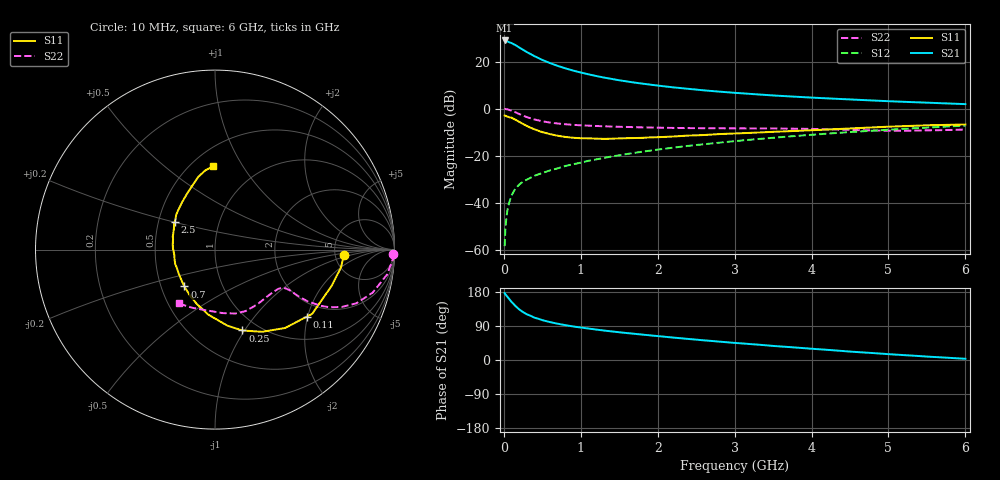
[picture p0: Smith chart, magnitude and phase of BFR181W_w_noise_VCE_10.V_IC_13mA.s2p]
! Infineon Technologies  Discrete & RF Semiconductors
! BFR181W
! VCE =  10. V,  IC =  13 mA
! Common Emitter S-Parameters:  Jan 2017
# GHz  S  MA  R  50
!  f  S11  S21  S12  S22
! GHz  MAG  ANG  MAG  ANG  MAG  ANG  MAG  ANG
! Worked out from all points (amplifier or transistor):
!   77 points, 10 MHz to 6 GHz, reference 50 ohm
!   highest |S21| = 29.0 dB at 10 MHz (marker M1)
!   |S21| within 3 dB of that: start of sweep to 201.3 MHz
!   unconditionally stable (mu >= 1): 947 MHz to 2.897 GHz
!   at 130 MHz: K = 0.32, MSG = 31.2 dB, |S12| = -35.0 dB
!   at 2.2 GHz: K = 1.05, MAG = 11.5 dB, |S12| = -16.5 dB
!   at 6 GHz: K = 0.85, MSG = 4.6 dB, |S12| = -7.2 dB
!   lowest NFmin = 1.39 dB at 450 MHz
!   S11 on the Smith chart (normalised r, x): 10 MHz: 6.04, -0.69; 110 MHz: 1.58, -1.97; 250 MHz: 0.84, -0.98; 700 MHz: 0.66, -0.29; 2.5 GHz: 0.61, +0.20; 6 GHz: 0.63, +0.75
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0.01  0.7192 -2.2  28.31 176.5  0.0012 89.0  0.9895 -1.5
0.02  0.709 -8.1  27.93 173.3  0.0027 94.3  0.9925 -3.1
0.05  0.6809 -17.2  26.91 165.9  0.0075 79.8  0.9695 -8.2
0.1  0.6489 -33.5  24.95 153.2  0.0142 73.7  0.9103 -15.3
0.11  0.6331 -36.2  24.41 151.3  0.0154 72.5  0.8961 -16.3
0.15  0.5858 -48.2  22.57 142.6  0.0201 69.2  0.8424 -20.8
0.2  0.5278 -60.2  20.1 133.5  0.0245 67.4  0.7742 -24.4
0.25  0.4757 -71.3  17.95 126.3  0.0283 64.7  0.7149 -26.7
0.3  0.4296 -80.7  15.99 120.5  0.0312 63.3  0.6636 -28.1
0.4  0.3646 -95.8  13.07 111.6  0.0377 63.2  0.591 -29.2
0.5  0.319 -108.7  10.91 105.2  0.0431 64.1  0.5422 -29.3
0.6  0.2888 -119.7  9.352 100.0  0.049 64.0  0.5093 -29.0
0.7  0.2671 -129.7  8.149 95.7  0.0541 65.7  0.4858 -28.7
0.9  0.2422 -146.6  6.484 88.6  0.0661 67.0  0.4558 -28.7
1.1  0.2355 -160.3  5.395 83.0  0.0784 68.3  0.4378 -29.3
1.5  0.2345 178.3  4.039 73.3  0.1025 68.7  0.4135 -32.1
2.1  0.2525 156.1  2.981 61.2  0.1421 67.5  0.3939 -40.0
2.5  0.2727 145.4  2.556 53.8  0.1696 65.9  0.3871 -46.7
3.1  0.3025 132.0  2.127 43.7  0.2122 62.8  0.3827 -57.1
4.1  0.3555 114.6  1.696 28.3  0.2874 56.1  0.3691 -74.5
5.1  0.4216 101.6  1.427 14.2  0.366 47.8  0.3415 -99.4
6  0.4638 91.5  1.255 3.2  0.4385 39.4  0.3618 -123.9
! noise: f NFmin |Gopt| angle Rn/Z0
0.45  1.39  0.08  17  0.21
0.9  1.43  0.08  31  0.21
1.9  1.86  0.09  -144  0.21
2.4  2.07  0.11  -109  0.26
